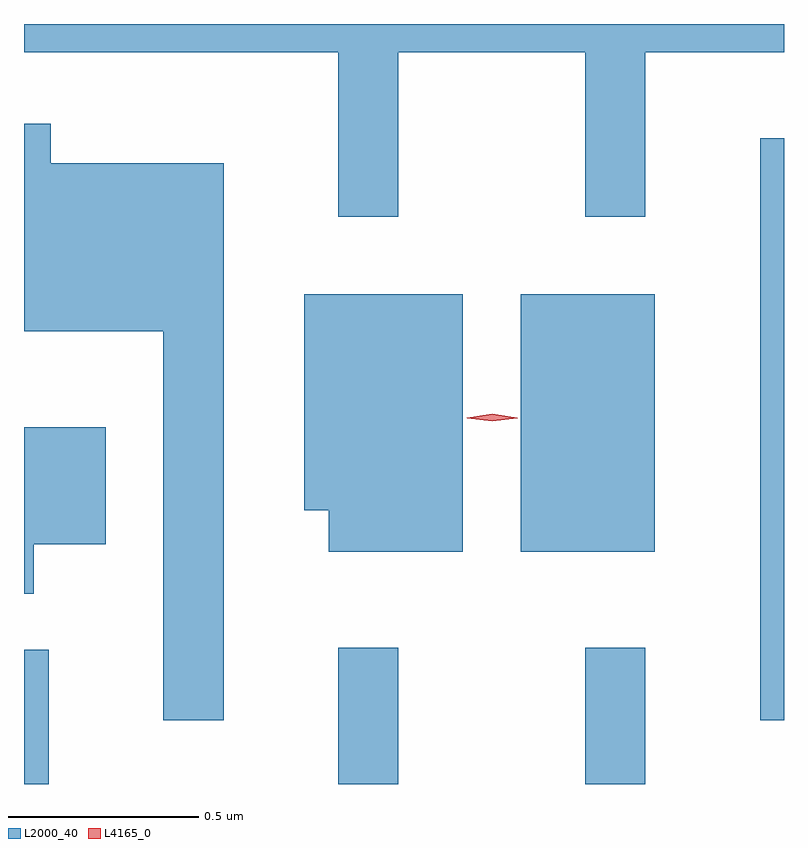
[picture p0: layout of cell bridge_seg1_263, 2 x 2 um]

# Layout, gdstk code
import gdstk
lib = gdstk.Library(unit=1e-6, precision=1e-09)
def R(c, l, rs):  # rectangles x0, y0, x1, y1
    for r in rs: c.add(gdstk.rectangle(r[:2], r[2:], *l))
def P(c, l, *ps):  # polygons
    for p in ps: c.add(gdstk.Polygon(p, *l))
L2000_40 = (2000, 40)
L4165_0 = (4165, 0)

bridge_seg1_263 = lib.new_cell('bridge_seg1_263')
R(bridge_seg1_263, L2000_40, [(1003.559,895.43,1003.624,895.783), (1004.386,895.43,1004.544,895.788), (1005.036,895.43,1005.194,895.788), (1005.496,895.598,1005.559,897.129), (1004.866,896.041,1005.219,896.719)])
P(bridge_seg1_263, L2000_40, [(1004.544,897.356),(1005.036,897.356),(1005.036,896.923),(1005.194,896.923),(1005.194,897.356),(1005.559,897.356),(1005.559,897.43),(1003.559,897.43),(1003.559,897.356),(1004.386,897.356),(1004.386,896.923),(1004.544,896.923)],
  [(1004.084,897.064),(1003.629,897.064),(1003.629,897.168),(1003.559,897.168),(1003.559,896.621),(1003.926,896.621),(1003.926,895.598),(1004.084,895.598)],
  [(1004.714,896.719),(1004.296,896.719),(1004.296,896.151),(1004.361,896.151),(1004.361,896.041),(1004.714,896.041)],
  [(1003.584,896.061),(1003.774,896.061),(1003.774,896.369),(1003.559,896.369),(1003.559,895.931),(1003.584,895.931)])
P(bridge_seg1_263, L4165_0, [(1004.791,896.384),(1004.725,896.393),(1004.724,896.394),(1004.725,896.394),(1004.791,896.404),(1004.857,896.394),(1004.858,896.393),(1004.857,896.393)])

lib.write_gds('bridge_seg1_263.gds')
